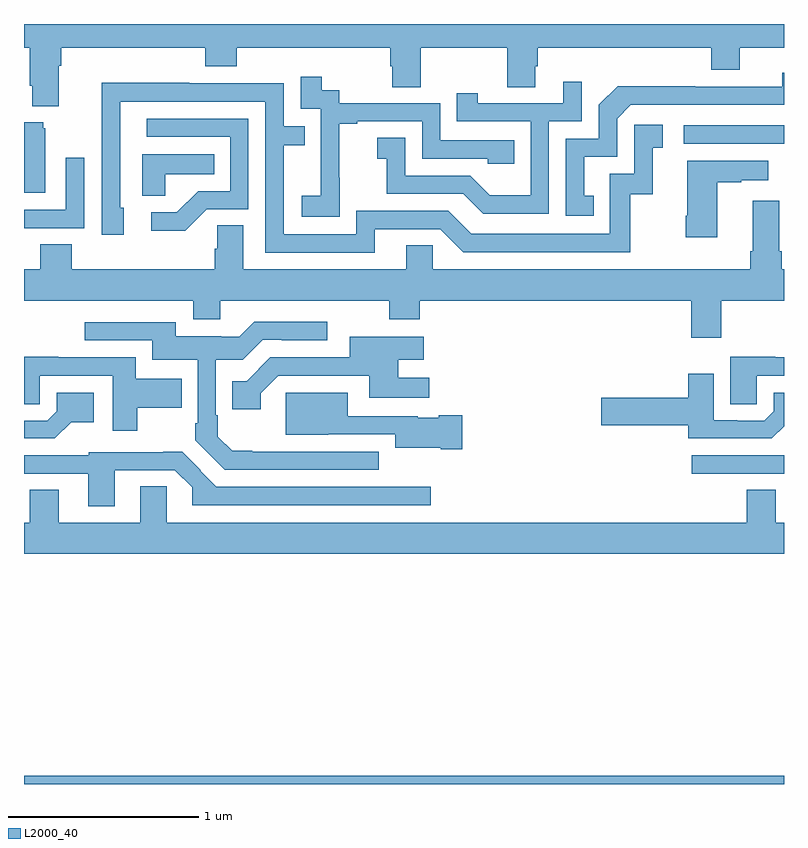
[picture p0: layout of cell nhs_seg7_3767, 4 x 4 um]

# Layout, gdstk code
import gdstk
lib = gdstk.Library(unit=1e-6, precision=1e-09)
def R(c, l, rs):  # rectangles x0, y0, x1, y1
    for r in rs: c.add(gdstk.rectangle(r[:2], r[2:], *l))
def P(c, l, *ps):  # polygons
    for p in ps: c.add(gdstk.Polygon(p, *l))
L2000_40 = (2000, 40)

nhs_seg7_3767 = lib.new_cell('nhs_seg7_3767')
R(nhs_seg7_3767, L2000_40, [(349,1070,353,1070.044), (352.515,1071.633,353,1071.729), (352.473,1073.37,353,1073.466)])
P(nhs_seg7_3767, L2000_40, [(349.183,1073.78),(349.196,1073.78),(349.196,1073.876),(349.955,1073.876),(349.955,1073.777),(350.12,1073.777),(350.12,1073.876),(350.927,1073.876),(350.927,1073.778),(350.939,1073.778),(350.939,1073.668),(351.087,1073.668),(351.087,1073.876),(351.544,1073.876),(351.544,1073.668),(351.691,1073.668),(351.691,1073.778),(351.704,1073.778),(351.704,1073.876),(352.616,1073.876),(352.616,1073.759),(352.768,1073.759),(352.768,1073.876),(353,1073.876),(353,1074),(349,1074),(349,1073.876),(349.031,1073.876),(349.031,1073.674),(349.043,1073.674),(349.043,1073.567),(349.183,1073.567)],
  [(351.998,1073.097),(351.949,1073.097),(351.949,1073.301),(352.122,1073.301),(352.122,1073.502),(352.194,1073.574),(353,1073.574),(353,1073.743),(352.992,1073.743),(352.992,1073.67),(352.532,1073.67),(352.532,1073.672),(352.124,1073.672),(352.026,1073.574),(352.026,1073.397),(351.852,1073.397),(351.852,1072.992),(351.998,1072.992)],
  [(350.661,1073.191),(350.66,1073.191),(350.66,1073.475),(350.755,1073.475),(350.755,1073.487),(351.096,1073.487),(351.096,1073.292),(351.441,1073.292),(351.441,1073.265),(351.581,1073.265),(351.581,1073.388),(351.192,1073.388),(351.192,1073.583),(350.658,1073.583),(350.658,1073.652),(350.566,1073.652),(350.566,1073.722),(350.457,1073.722),(350.457,1073.553),(350.562,1073.553),(350.562,1073.324),(350.561,1073.324),(350.561,1073.095),(350.463,1073.095),(350.463,1072.985),(350.661,1072.985)],
  [(351.762,1073.487),(351.936,1073.487),(351.936,1073.695),(351.839,1073.695),(351.839,1073.583),(351.388,1073.583),(351.388,1073.635),(351.277,1073.635),(351.277,1073.487),(351.666,1073.487),(351.666,1073.098),(351.452,1073.098),(351.348,1073.202),(351.006,1073.202),(351.006,1073.401),(350.859,1073.401),(350.859,1073.291),(350.908,1073.291),(350.908,1073.106),(351.311,1073.106),(351.416,1073.001),(351.762,1073.001)],
  [(350.845,1072.92),(351.192,1072.92),(351.312,1072.8),(352.192,1072.8),(352.192,1073.103),(352.31,1073.103),(352.31,1073.349),(352.363,1073.349),(352.363,1073.47),(352.212,1073.47),(352.212,1073.211),(352.083,1073.211),(352.083,1072.896),(351.354,1072.896),(351.234,1073.016),(350.748,1073.016),(350.748,1072.893),(350.367,1072.893),(350.367,1073.362),(350.477,1073.362),(350.477,1073.463),(350.367,1073.463),(350.367,1073.688),(349.871,1073.688),(349.871,1073.69),(349.408,1073.69),(349.408,1073.383),(349.41,1073.383),(349.41,1072.89),(349.525,1072.89),(349.525,1073.034),(349.506,1073.034),(349.506,1073.592),(350.271,1073.592),(350.271,1072.797),(350.845,1072.797)],
  [(349.962,1073.025),(350.181,1073.025),(350.181,1073.502),(349.647,1073.502),(349.647,1073.406),(350.085,1073.406),(350.085,1073.121),(349.916,1073.121),(349.805,1073.01),(349.671,1073.01),(349.671,1072.913),(349.849,1072.913)],
  [(349.111,1073.451),(349.1,1073.451),(349.1,1073.482),(349,1073.482),(349,1073.111),(349.111,1073.111)],
  [(349.743,1073.21),(350,1073.21),(350,1073.314),(349.622,1073.314),(349.622,1073.095),(349.743,1073.095)],
  [(349.001,1072.926),(349.317,1072.926),(349.317,1073.296),(349.221,1073.296),(349.221,1073.022),(349,1073.022),(349,1072.925),(349.001,1072.925)],
  [(352.648,1073.167),(352.775,1073.167),(352.775,1073.177),(352.918,1073.177),(352.918,1073.281),(352.49,1073.281),(352.49,1072.99),(352.483,1072.99),(352.483,1072.878),(352.648,1072.878)],
  [(352.671,1072.544),(353,1072.544),(353,1072.708),(352.988,1072.708),(352.988,1072.804),(352.975,1072.804),(352.975,1073.071),(352.835,1073.071),(352.835,1072.804),(352.823,1072.804),(352.823,1072.708),(351.15,1072.708),(351.15,1072.835),(351.011,1072.835),(351.011,1072.708),(350.155,1072.708),(350.155,1072.94),(350.016,1072.94),(350.016,1072.817),(350.003,1072.817),(350.003,1072.708),(349.25,1072.708),(349.25,1072.841),(349.085,1072.841),(349.085,1072.708),(349,1072.708),(349,1072.544),(349.892,1072.544),(349.892,1072.445),(350.032,1072.445),(350.032,1072.544),(350.923,1072.544),(350.923,1072.445),(351.083,1072.445),(351.083,1072.544),(352.511,1072.544),(352.511,1072.35),(352.671,1072.35)],
  [(350.866,1071.75),(350.2,1071.75),(350.2,1071.753),(350.096,1071.753),(350.02,1071.828),(350.02,1071.94),(350.01,1071.94),(350.01,1072.233),(350.151,1072.233),(350.256,1072.338),(350.356,1072.338),(350.356,1072.335),(350.596,1072.335),(350.596,1072.432),(350.212,1072.432),(350.133,1072.353),(350.039,1072.353),(350.039,1072.357),(349.798,1072.357),(349.798,1072.431),(349.32,1072.431),(349.32,1072.335),(349.676,1072.335),(349.676,1072.232),(349.914,1072.232),(349.914,1071.898),(349.902,1071.898),(349.902,1071.809),(350.057,1071.654),(350.866,1071.654)],
  [(350.245,1072.057),(350.337,1072.149),(350.816,1072.149),(350.816,1072.034),(351.133,1072.034),(351.133,1072.138),(350.969,1072.138),(350.969,1072.232),(351.103,1072.232),(351.103,1072.354),(350.714,1072.354),(350.714,1072.245),(350.297,1072.245),(350.172,1072.12),(350.095,1072.12),(350.095,1071.972),(350.245,1071.972)],
  [(352.857,1072.149),(353,1072.149),(353,1072.245),(352.954,1072.245),(352.954,1072.25),(352.718,1072.25),(352.718,1072),(352.857,1072)],
  [(349.596,1071.98),(349.829,1071.98),(349.829,1072.132),(349.588,1072.132),(349.588,1072.245),(349.18,1072.245),(349.18,1072.25),(349,1072.25),(349,1072),(349.083,1072),(349.083,1072.149),(349.466,1072.149),(349.466,1071.858),(349.596,1071.858)],
  [(353,1071.883),(353,1072.06),(352.947,1072.06),(352.947,1071.963),(352.896,1071.912),(352.754,1071.912),(352.754,1071.915),(352.63,1071.915),(352.63,1072.159),(352.496,1072.159),(352.496,1072.034),(352.038,1072.034),(352.038,1071.887),(352.496,1071.887),(352.496,1071.819),(352.936,1071.819)],
  [(351.307,1071.941),(351.183,1071.941),(351.183,1071.928),(351.072,1071.928),(351.072,1071.936),(350.704,1071.936),(350.704,1072.06),(350.378,1072.06),(350.378,1071.839),(350.6,1071.839),(350.6,1071.84),(350.954,1071.84),(350.954,1071.77),(351.194,1071.77),(351.194,1071.763),(351.307,1071.763)],
  [(349.248,1071.905),(349.366,1071.905),(349.366,1072.06),(349.173,1072.06),(349.173,1071.963),(349.122,1071.912),(349,1071.912),(349,1071.819),(349.162,1071.819)],
  [(349.477,1071.651),(349.794,1071.651),(349.885,1071.561),(349.885,1071.468),(351.142,1071.468),(351.142,1071.564),(350.013,1071.564),(349.928,1071.649),(349.931,1071.652),(349.833,1071.75),(349.733,1071.75),(349.733,1071.747),(349.341,1071.747),(349.341,1071.729),(349,1071.729),(349,1071.633),(349.337,1071.633),(349.337,1071.462),(349.477,1071.462)],
  [(353,1071.376),(352.957,1071.376),(352.957,1071.548),(352.805,1071.548),(352.805,1071.376),(349.752,1071.376),(349.752,1071.566),(349.613,1071.566),(349.613,1071.376),(349.183,1071.376),(349.183,1071.548),(349.031,1071.548),(349.031,1071.376),(349,1071.376),(349,1071.212),(353,1071.212)])

lib.write_gds('nhs_seg7_3767.gds')
